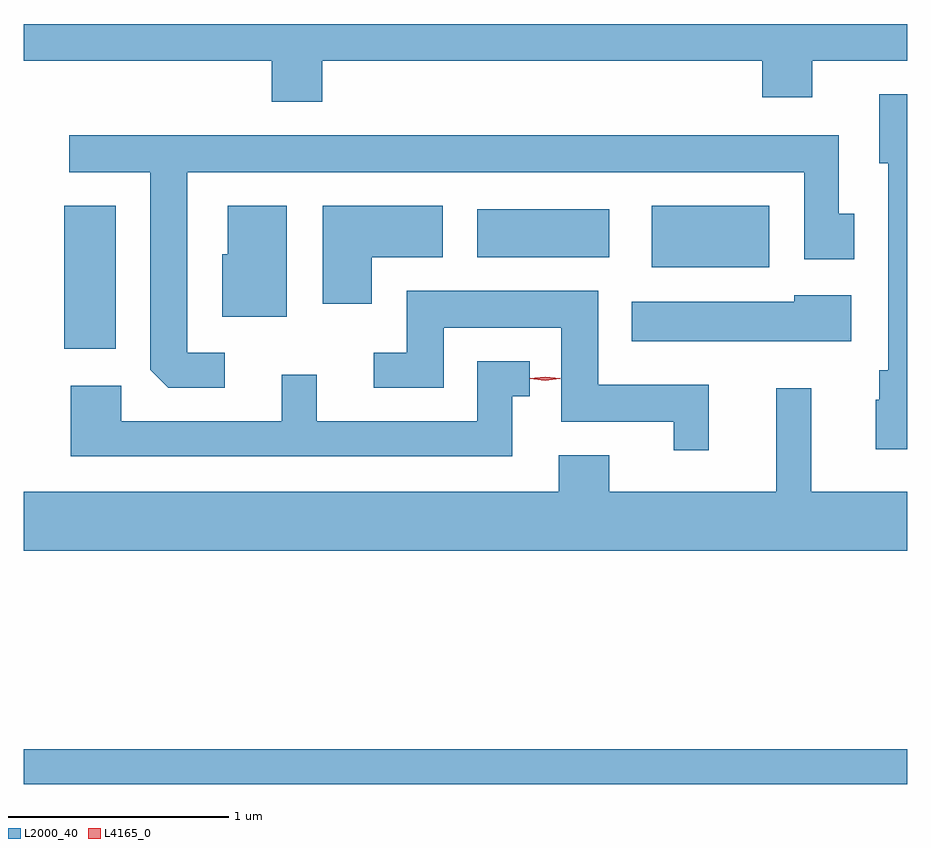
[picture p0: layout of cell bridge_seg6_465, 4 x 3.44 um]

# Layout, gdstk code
import gdstk
lib = gdstk.Library(unit=1e-6, precision=1e-09)
def R(c, l, rs):  # rectangles x0, y0, x1, y1
    for r in rs: c.add(gdstk.rectangle(r[:2], r[2:], *l))
def P(c, l, *ps):  # polygons
    for p in ps: c.add(gdstk.Polygon(p, *l))
L2000_40 = (2000, 40)
L4165_0 = (4165, 0)

bridge_seg6_465 = lib.new_cell('bridge_seg6_465')
R(bridge_seg6_465, L2000_40, [(809.328,1593.381,813.328,1593.539), (809.511,1595.351,809.744,1595.999), (812.171,1595.721,812.704,1595.999), (811.381,1595.766,811.979,1595.984)])
P(bridge_seg6_465, L2000_40, [(810.679,1596.656),(812.671,1596.656),(812.671,1596.491),(812.899,1596.491),(812.899,1596.656),(813.328,1596.656),(813.328,1596.822),(809.328,1596.822),(809.328,1596.656),(810.451,1596.656),(810.451,1596.471),(810.679,1596.471)],
  [(813.328,1596.504),(813.201,1596.504),(813.201,1596.191),(813.241,1596.191),(813.241,1595.254),(813.201,1595.254),(813.201,1595.12),(813.186,1595.12),(813.186,1594.896),(813.328,1594.896)],
  [(810.238,1595.334),(810.069,1595.334),(810.069,1596.151),(812.861,1596.151),(812.861,1595.756),(813.089,1595.756),(813.089,1595.964),(813.019,1595.964),(813.019,1596.319),(809.533,1596.319),(809.533,1596.151),(809.901,1596.151),(809.901,1595.257),(809.982,1595.176),(810.238,1595.176)],
  [(810.904,1595.766),(811.224,1595.766),(811.224,1595.999),(810.681,1595.999),(810.681,1595.556),(810.904,1595.556)],
  [(810.519,1595.999),(810.251,1595.999),(810.251,1595.779),(810.226,1595.779),(810.226,1595.496),(810.519,1595.496)],
  [(812.429,1595.189),(811.929,1595.189),(811.929,1595.614),(811.061,1595.614),(811.061,1595.334),(810.913,1595.334),(810.913,1595.176),(811.229,1595.176),(811.229,1595.446),(811.761,1595.446),(811.761,1595.021),(812.271,1595.021),(812.271,1594.893),(812.429,1594.893)],
  [(813.074,1595.594),(812.816,1595.594),(812.816,1595.564),(812.081,1595.564),(812.081,1595.386),(813.074,1595.386)],
  [(811.539,1595.136),(811.618,1595.136),(811.618,1595.294),(811.381,1595.294),(811.381,1595.024),(810.654,1595.024),(810.654,1595.233),(810.496,1595.233),(810.496,1595.024),(809.769,1595.024),(809.769,1595.184),(809.541,1595.184),(809.541,1594.866),(811.539,1594.866)],
  [(813.328,1594.704),(812.894,1594.704),(812.894,1595.173),(812.736,1595.173),(812.736,1594.704),(811.979,1594.704),(811.979,1594.869),(811.751,1594.869),(811.751,1594.704),(809.328,1594.704),(809.328,1594.436),(813.328,1594.436)])
P(bridge_seg6_465, L4165_0, [(811.688,1595.207),(811.619,1595.216),(811.619,1595.216),(811.619,1595.217),(811.688,1595.226),(811.758,1595.217),(811.758,1595.217),(811.758,1595.216)])

lib.write_gds('bridge_seg6_465.gds')
